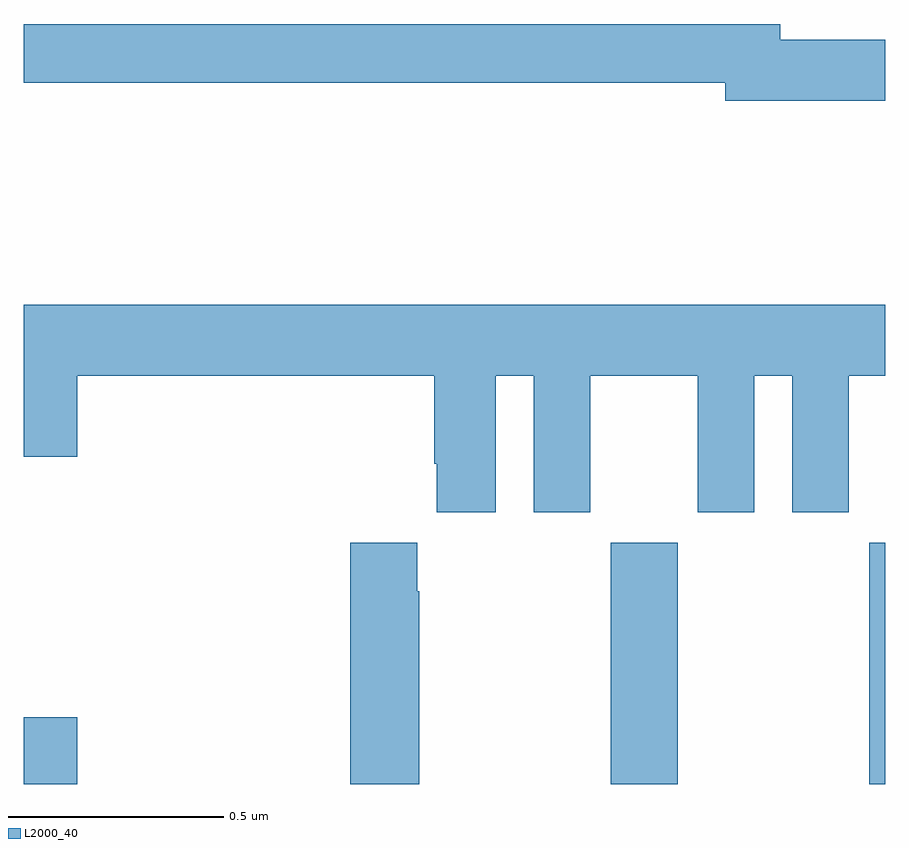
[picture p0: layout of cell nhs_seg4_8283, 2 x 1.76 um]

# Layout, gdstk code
import gdstk
lib = gdstk.Library(unit=1e-6, precision=1e-09)
def R(c, l, rs):  # rectangles x0, y0, x1, y1
    for r in rs: c.add(gdstk.rectangle(r[:2], r[2:], *l))
def P(c, l, *ps):  # polygons
    for p in ps: c.add(gdstk.Polygon(p, *l))
L2000_40 = (2000, 40)

nhs_seg4_8283 = lib.new_cell('nhs_seg4_8283')
R(nhs_seg4_8283, L2000_40, [(213,767.9,213.124,768.055), (214.363,767.9,214.518,768.46), (214.963,767.9,215,768.46)])
P(nhs_seg4_8283, L2000_40, [(215,769.628),(214.756,769.628),(214.756,769.664),(213,769.664),(213,769.528),(214.628,769.528),(214.628,769.486),(215,769.486)],
  [(214.096,768.848),(214.184,768.848),(214.184,768.531),(214.315,768.531),(214.315,768.848),(214.565,768.848),(214.565,768.531),(214.696,768.531),(214.696,768.848),(214.784,768.848),(214.784,768.531),(214.915,768.531),(214.915,768.848),(215,768.848),(215,769.012),(213,769.012),(213,768.66),(213.124,768.66),(213.124,768.848),(213.953,768.848),(213.953,768.643),(213.959,768.643),(213.959,768.531),(214.096,768.531)],
  [(213.918,768.347),(213.913,768.347),(213.913,768.46),(213.758,768.46),(213.758,767.9),(213.918,767.9)])

lib.write_gds('nhs_seg4_8283.gds')
